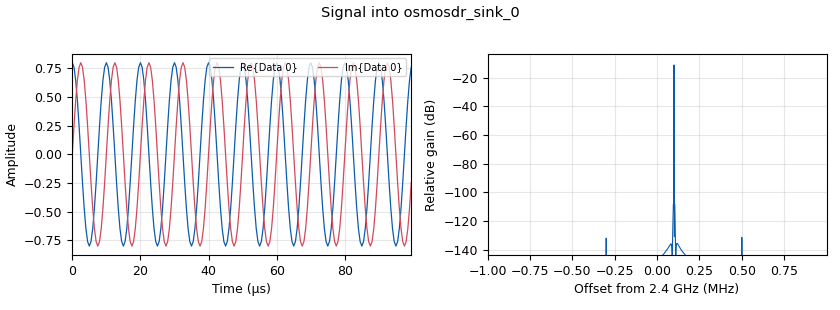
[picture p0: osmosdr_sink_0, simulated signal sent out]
options:
  parameters:
    author: Adi
    description: CW tone transmitter (one HackRF). Press Enter in the terminal to stop cleanly.
    generate_options: qt_gui
    hier_block_src_path: '.'
    id: tx_tone_2p4ghz
    output_language: python
    title: TX - CW tone (2.4 GHz)
  states: {}

blocks:
- name: rf_freq
  id: variable
  parameters:
    value: 2.4e9
  states: {}
- name: samp_rate
  id: variable
  parameters:
    value: 2e6
  states: {}
- name: tone_freq
  id: variable
  parameters:
    value: 100e3
  states: {}
- name: tx_vga
  id: variable_qtgui_range
  parameters:
    label: TX VGA gain (dB, 0-47)
    start: '0'
    step: '1'
    stop: '47'
    value: '40'
  states: {}
- name: analog_sig_source_x_0
  id: analog_sig_source_x
  parameters:
    amp: '0.8'
    freq: tone_freq
    offset: '0'
    phase: '0'
    samp_rate: samp_rate
    type: complex
    waveform: analog.GR_COS_WAVE
  states: {}
- name: osmosdr_sink_0
  id: osmosdr_sink
  parameters:
    args: hackrf=0
    bb_gain0: '0'
    freq0: rf_freq
    gain0: '0'
    if_gain0: tx_vga
    sample_rate: samp_rate
    sync: none
    type: fc32
  states: {}

connections:
- [analog_sig_source_x_0, '0', osmosdr_sink_0, '0']

metadata:
  file_format: 1
  grc_version: 3.10.12.0
